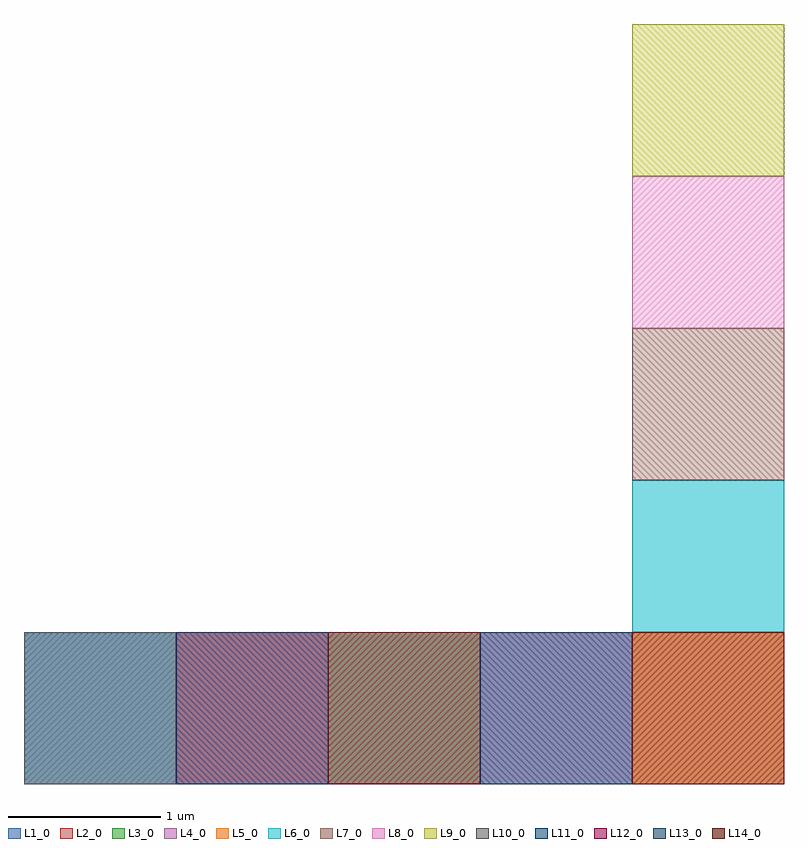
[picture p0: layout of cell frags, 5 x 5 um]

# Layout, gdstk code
import gdstk
lib = gdstk.Library(unit=1e-6, precision=1e-09)
def R(c, l, rs):  # rectangles x0, y0, x1, y1
    for r in rs: c.add(gdstk.rectangle(r[:2], r[2:], *l))
L1_0 = (1, 0)
L2_0 = (2, 0)
L3_0 = (3, 0)
L4_0 = (4, 0)
L5_0 = (5, 0)
L6_0 = (6, 0)
L7_0 = (7, 0)
L8_0 = (8, 0)
L9_0 = (9, 0)
L10_0 = (10, 0)
L11_0 = (11, 0)
L12_0 = (12, 0)
L13_0 = (13, 0)
L14_0 = (14, 0)

frags = lib.new_cell('frags')
R(frags, L1_0, [(0,0,1,1)])
R(frags, L2_0, [(1,0,2,1)])
R(frags, L3_0, [(2,0,3,1)])
R(frags, L4_0, [(3,0,4,1)])
R(frags, L5_0, [(4,0,5,1)])
R(frags, L6_0, [(4,1,5,2)])
R(frags, L7_0, [(4,2,5,3)])
R(frags, L8_0, [(4,3,5,4)])
R(frags, L9_0, [(4,4,5,5)])
R(frags, L10_0, [(0,0,1,1)])
R(frags, L11_0, [(1,0,2,1)])
R(frags, L12_0, [(2,0,3,1)])
R(frags, L13_0, [(3,0,4,1)])
R(frags, L14_0, [(4,0,5,1)])

lib.write_gds('frags.gds')
